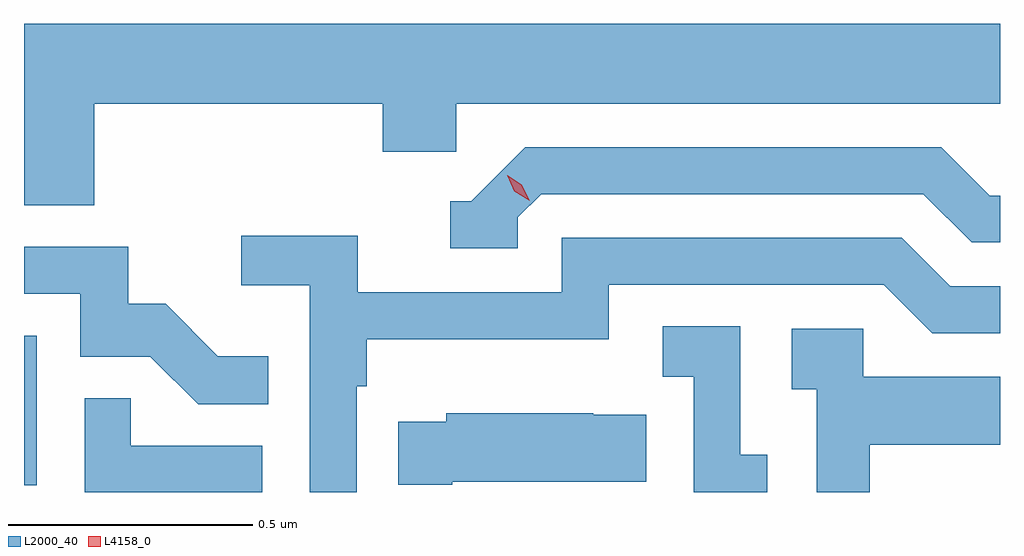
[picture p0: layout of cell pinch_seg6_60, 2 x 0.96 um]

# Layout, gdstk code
import gdstk
lib = gdstk.Library(unit=1e-6, precision=1e-09)
def R(c, l, rs):  # rectangles x0, y0, x1, y1
    for r in rs: c.add(gdstk.rectangle(r[:2], r[2:], *l))
def P(c, l, *ps):  # polygons
    for p in ps: c.add(gdstk.Polygon(p, *l))
L2000_40 = (2000, 40)
L4158_0 = (4158, 0)

pinch_seg6_60 = lib.new_cell('pinch_seg6_60')
R(pinch_seg6_60, L2000_40, [(953.336,937.23,953.362,937.537)])
P(pinch_seg6_60, L2000_40, [(953.48,938.012),(954.071,938.012),(954.071,937.914),(954.222,937.914),(954.222,938.012),(955.336,938.012),(955.336,938.176),(953.336,938.176),(953.336,937.804),(953.48,937.804)],
  [(954.348,937.779),(954.396,937.827),(955.179,937.827),(955.278,937.728),(955.336,937.728),(955.336,937.824),(955.315,937.824),(955.216,937.923),(954.363,937.923),(954.252,937.812),(954.209,937.812),(954.209,937.716),(954.348,937.716)],
  [(954.018,937.433),(954.038,937.433),(954.038,937.529),(954.534,937.529),(954.534,937.641),(955.098,937.641),(955.197,937.542),(955.336,937.542),(955.336,937.638),(955.234,937.638),(955.135,937.737),(954.438,937.737),(954.438,937.626),(954.02,937.626),(954.02,937.742),(953.781,937.742),(953.781,937.64),(953.922,937.64),(953.922,937.216),(954.018,937.216)],
  [(953.837,937.495),(953.733,937.495),(953.626,937.602),(953.55,937.602),(953.55,937.719),(953.336,937.719),(953.336,937.623),(953.451,937.623),(953.451,937.494),(953.595,937.494),(953.693,937.396),(953.837,937.396)],
  [(954.859,937.293),(954.804,937.293),(954.804,937.556),(954.645,937.556),(954.645,937.453),(954.708,937.453),(954.708,937.216),(954.859,937.216)],
  [(955.069,937.313),(955.336,937.313),(955.336,937.453),(955.056,937.453),(955.056,937.551),(954.909,937.551),(954.909,937.427),(954.96,937.427),(954.96,937.216),(955.069,937.216)],
  [(953.824,937.311),(953.555,937.311),(953.555,937.409),(953.46,937.409),(953.46,937.216),(953.824,937.216)],
  [(954.214,937.238),(954.611,937.238),(954.611,937.375),(954.503,937.375),(954.503,937.378),(954.201,937.378),(954.201,937.36),(954.103,937.36),(954.103,937.231),(954.214,937.231)])
P(pinch_seg6_60, L4158_0, [(954.372,937.813),(954.341,937.833),(954.326,937.866),(954.326,937.866),(954.326,937.866),(954.356,937.846),(954.372,937.813),(954.372,937.813)])

lib.write_gds('pinch_seg6_60.gds')
